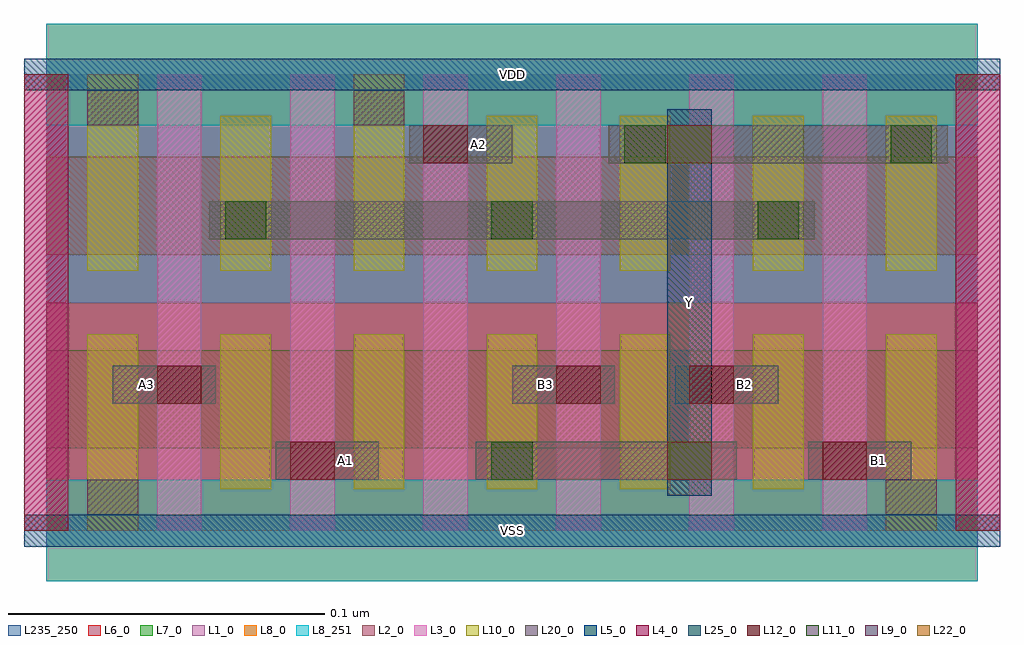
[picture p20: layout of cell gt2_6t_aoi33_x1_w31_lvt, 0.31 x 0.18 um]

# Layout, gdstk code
import gdstk
lib = gdstk.Library(unit=1e-6, precision=5e-10)
def R(c, l, rs):  # rectangles x0, y0, x1, y1
    for r in rs: c.add(gdstk.rectangle(r[:2], r[2:], *l))
def A(c, l, x, y, w, h, nx, ny, dx, dy):  # array of equal rectangles
    R(c, l, [(x+i*dx, y+j*dy, x+i*dx+w, y+j*dy+h) for i in range(nx) for j in range(ny)])
L1_0 = (1, 0)
L2_0 = (2, 0)
L3_0 = (3, 0)
L4_0 = (4, 0)
L5_0 = (5, 0)
L6_0 = (6, 0)
L7_0 = (7, 0)
L8_0 = (8, 0)
L8_251 = (8, 251)
L9_0 = (9, 0)
L10_0 = (10, 0)
L11_0 = (11, 0)
L12_0 = (12, 0)
L20_0 = (20, 0)
L22_0 = (22, 0)
L25_0 = (25, 0)
L235_250 = (235, 250)

gt2_6t_aoi33_x1_w31_lvt = lib.new_cell('gt2_6t_aoi33_x1_w31_lvt')
R(gt2_6t_aoi33_x1_w31_lvt, L1_0, [(0,0.072,0.294,0.144)])
R(gt2_6t_aoi33_x1_w31_lvt, L2_0, [(0,0.026,0.294,0.057), (0,0.087,0.294,0.118)])
A(gt2_6t_aoi33_x1_w31_lvt, L3_0, -0.007, 0, 0.014, 0.144, 8, 1, 0.042, 0)
R(gt2_6t_aoi33_x1_w31_lvt, L4_0, [(-0.007,0,0.007,0.144), (0.287,0,0.301,0.144)])
R(gt2_6t_aoi33_x1_w31_lvt, L5_0, [(-0.007,-0.005,0.301,0.005), (-0.007,0.139,0.301,0.149)])
R(gt2_6t_aoi33_x1_w31_lvt, L6_0, [(0,0,0.294,0.072)])
R(gt2_6t_aoi33_x1_w31_lvt, L7_0, [(0,0.072,0.294,0.144)])
R(gt2_6t_aoi33_x1_w31_lvt, L8_0, [(0,-0.016,0.294,0.016), (0,0.128,0.294,0.16)])
R(gt2_6t_aoi33_x1_w31_lvt, L8_251, [(0,-0.016,0.294,0.016), (0,0.128,0.294,0.16)])
R(gt2_6t_aoi33_x1_w31_lvt, L9_0, [(0.013,0.005,0.029,0.016), (0.265,0.005,0.281,0.016), (0.013,0.128,0.029,0.139), (0.097,0.128,0.113,0.139)])
A(gt2_6t_aoi33_x1_w31_lvt, L10_0, 0.055, 0.013, 0.016, 0.049, 5, 1, 0.042, 0)
A(gt2_6t_aoi33_x1_w31_lvt, L10_0, 0.139, 0.082, 0.016, 0.049, 4, 1, 0.042, 0)
R(gt2_6t_aoi33_x1_w31_lvt, L10_0, [(0.013,0,0.029,0.062), (0.265,0,0.281,0.062), (0.013,0.082,0.029,0.144), (0.055,0.082,0.071,0.131), (0.097,0.082,0.113,0.144)])
A(gt2_6t_aoi33_x1_w31_lvt, L11_0, 0.0565, 0.092, 0.013, 0.012, 3, 1, 0.084, 0)
R(gt2_6t_aoi33_x1_w31_lvt, L11_0, [(0.1405,0.016,0.1535,0.028), (0.1825,0.116,0.1955,0.128), (0.2665,0.116,0.2795,0.128)])
R(gt2_6t_aoi33_x1_w31_lvt, L12_0, [(0.077,0.016,0.091,0.028), (0.245,0.016,0.259,0.028), (0.035,0.04,0.049,0.052), (0.161,0.04,0.175,0.052), (0.203,0.04,0.217,0.052), (0.119,0.116,0.133,0.128)])
R(gt2_6t_aoi33_x1_w31_lvt, L20_0, [(0.0725,0.016,0.105,0.028), (0.1355,0.016,0.218,0.028), (0.2405,0.016,0.273,0.028), (0.021,0.04,0.0535,0.052), (0.147,0.04,0.1795,0.052), (0.1985,0.04,0.231,0.052), (0.0515,0.092,0.2425,0.104), (0.1145,0.116,0.147,0.128), (0.1775,0.116,0.2845,0.128)])
R(gt2_6t_aoi33_x1_w31_lvt, L22_0, [(0.196,0.016,0.21,0.028), (0.196,0.116,0.21,0.128)])
R(gt2_6t_aoi33_x1_w31_lvt, L25_0, [(0.196,0.011,0.21,0.133)])
R(gt2_6t_aoi33_x1_w31_lvt, L235_250, [(0,0,0.294,0.144)])
gt2_6t_aoi33_x1_w31_lvt.add(gdstk.Label('VSS', (0.147,0), layer=8, texttype=251))
gt2_6t_aoi33_x1_w31_lvt.add(gdstk.Label('VDD', (0.147,0.144), layer=8, texttype=251))
gt2_6t_aoi33_x1_w31_lvt.add(gdstk.Label('B1', (0.2625,0.022), layer=20, texttype=251))
gt2_6t_aoi33_x1_w31_lvt.add(gdstk.Label('A3', (0.0315,0.046), layer=20, texttype=251))
gt2_6t_aoi33_x1_w31_lvt.add(gdstk.Label('B3', (0.1575,0.046), layer=20, texttype=251))
gt2_6t_aoi33_x1_w31_lvt.add(gdstk.Label('B2', (0.2205,0.046), layer=20, texttype=251))
gt2_6t_aoi33_x1_w31_lvt.add(gdstk.Label('A2', (0.1365,0.122), layer=20, texttype=251))
gt2_6t_aoi33_x1_w31_lvt.add(gdstk.Label('A1', (0.0945,0.022), layer=20, texttype=251))
gt2_6t_aoi33_x1_w31_lvt.add(gdstk.Label('Y', (0.203,0.072), layer=25, texttype=251))

lib.write_gds('gt2_6t_aoi33_x1_w31_lvt.gds')
